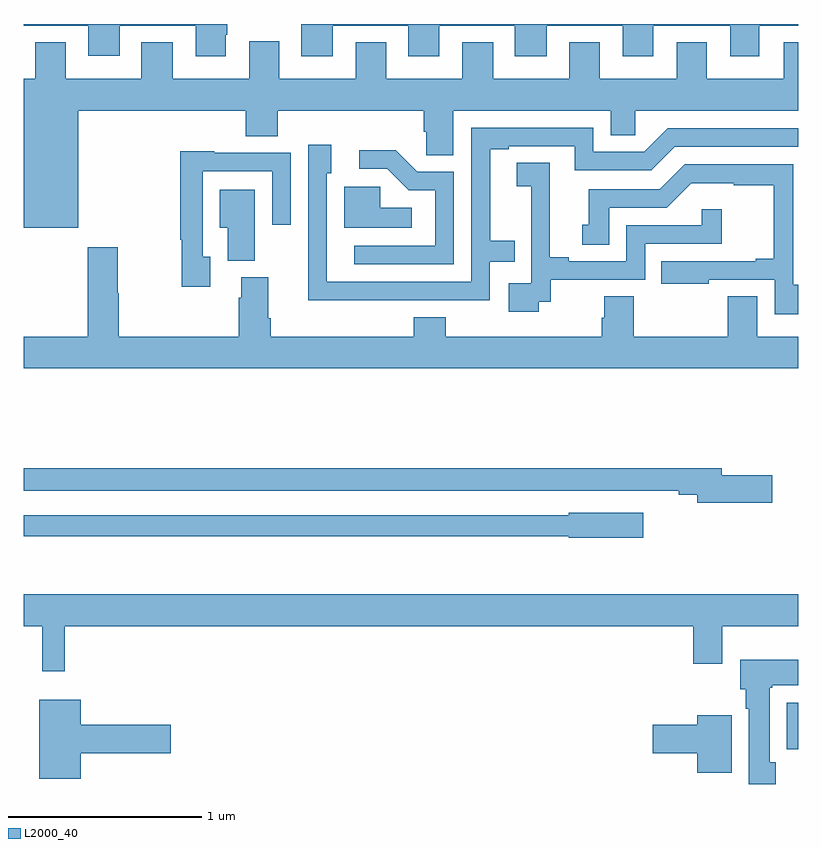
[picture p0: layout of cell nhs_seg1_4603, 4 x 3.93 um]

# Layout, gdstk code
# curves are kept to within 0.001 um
import gdstk
lib = gdstk.Library(unit=1e-6, precision=1e-09)
def R(c, l, rs):  # rectangles x0, y0, x1, y1
    for r in rs: c.add(gdstk.rectangle(r[:2], r[2:], *l))
def P(c, l, *ps):  # polygons
    for p in ps: c.add(gdstk.Polygon(p, *l))
L2000_40 = (2000, 40)

nhs_seg1_4603 = lib.new_cell('nhs_seg1_4603')
R(nhs_seg1_4603, L2000_40, [(364.94,528.452,365,528.694)])
P(nhs_seg1_4603, L2000_40, [(362.596,532.19),(362.987,532.19),(362.987,532.032),(363.145,532.032),(363.145,532.19),(363.536,532.19),(363.536,532.032),(363.7,532.032),(363.7,532.19),(364.094,532.19),(364.094,532.032),(364.252,532.032),(364.252,532.19),(364.649,532.19),(364.649,532.032),(364.798,532.032),(364.798,532.19),(365,532.19),(365,532.199),(362.432,532.199),(362.432,532.032),(362.596,532.032)],
  [(362.044,532.144),(362.052,532.144),(362.052,532.199),(361,532.199),(361,532.191),(361.334,532.191),(361.334,532.035),(361.495,532.035),(361.495,532.191),(361.889,532.191),(361.889,532.032),(362.044,532.032)],
  [(362.147,531.619),(362.312,531.619),(362.312,531.752),(363.065,531.752),(363.065,531.643),(363.078,531.643),(363.078,531.52),(363.217,531.52),(363.217,531.752),(364.031,531.752),(364.031,531.625),(364.158,531.625),(364.158,531.752),(365,531.752),(365,532.105),(364.925,532.105),(364.925,531.916),(364.528,531.916),(364.528,532.105),(364.373,532.105),(364.373,531.916),(363.976,531.916),(363.976,532.105),(363.818,532.105),(363.818,531.916),(363.424,531.916),(363.424,532.105),(363.266,532.105),(363.266,531.916),(362.872,531.916),(362.872,532.105),(362.714,532.105),(362.714,531.916),(362.32,531.916),(362.32,532.111),(362.165,532.111),(362.165,531.916),(361.768,531.916),(361.768,532.106),(361.607,532.106),(361.607,531.916),(361.216,531.916),(361.216,532.106),(361.058,532.106),(361.058,531.916),(361,531.916),(361,531.146),(361.282,531.146),(361.282,531.752),(362.147,531.752)],
  [(362.93,530.772),(363.408,530.772),(363.408,530.97),(363.536,530.97),(363.536,531.079),(363.409,531.079),(363.409,531.552),(363.505,531.552),(363.505,531.567),(363.846,531.567),(363.846,531.444),(364.242,531.444),(364.362,531.564),(365,531.564),(365,531.66),(364.326,531.66),(364.206,531.54),(363.942,531.54),(363.942,531.663),(363.312,531.663),(363.312,530.868),(362.565,530.868),(362.565,531.429),(362.587,531.429),(362.587,531.574),(362.469,531.574),(362.468,530.771)],
  [(363.222,531.435),(363.033,531.435),(362.92,531.548),(362.733,531.548),(362.733,531.45),(362.877,531.45),(362.988,531.339),(363.126,531.339),(363.126,531.054),(362.706,531.054),(362.706,530.958),(363.222,530.958)],
  [(361.963,530.997),(361.923,530.997),(361.923,531.438),(362.283,531.438),(362.283,531.162),(362.379,531.162),(362.379,531.534),(361.983,531.534),(361.983,531.541),(361.807,531.541),(361.807,531.085),(361.815,531.085),(361.815,530.841),(361.963,530.841)],
  [(363.66,530.763),(363.722,530.763),(363.722,530.877),(364.209,530.877),(364.209,531.063),(364.604,531.063),(364.604,531.241),(364.503,531.241),(364.503,531.159),(364.113,531.159),(364.113,530.973),(363.814,530.973),(363.814,530.993),(363.718,530.993),(363.718,531.371),(363.716,531.371),(363.716,531.482),(363.546,531.482),(363.546,531.361),(363.62,531.361),(363.62,531.163),(363.621,531.163),(363.621,530.859),(363.504,530.859),(363.504,530.712),(363.66,530.712)],
  [(365,530.851),(364.974,530.851),(364.974,531.474),(364.413,531.474),(364.284,531.345),(363.917,531.345),(363.917,531.162),(363.884,531.162),(363.884,531.058),(364.024,531.058),(364.024,531.249),(364.32,531.249),(364.448,531.377),(364.667,531.377),(364.667,531.366),(364.873,531.366),(364.873,530.986),(364.781,530.986),(364.781,530.973),(364.294,530.973),(364.294,530.858),(364.537,530.858),(364.537,530.877),(364.878,530.877),(364.878,530.7),(365,530.7)],
  [(363.004,531.25),(362.841,531.25),(362.841,531.357),(362.654,531.357),(362.654,531.146),(363.004,531.146)],
  [(362.194,531.343),(362.012,531.343),(362.012,531.146),(362.054,531.146),(362.054,530.977),(362.194,530.977)],
  [(365,530.584),(364.789,530.584),(364.789,530.792),(364.637,530.792),(364.637,530.584),(364.151,530.584),(364.151,530.792),(363.998,530.792),(363.998,530.682),(363.986,530.682),(363.986,530.584),(363.179,530.584),(363.179,530.683),(363.014,530.683),(363.014,530.584),(362.276,530.584),(362.276,530.68),(362.263,530.68),(362.263,530.892),(362.123,530.892),(362.123,530.786),(362.111,530.786),(362.111,530.584),(361.49,530.584),(361.49,530.807),(361.485,530.807),(361.485,531.046),(361.33,531.046),(361.33,530.584),(361,530.584),(361,530.42),(365,530.42)],
  [(364.867,529.868),(364.606,529.868),(364.606,529.904),(361,529.904),(361,529.788),(364.382,529.788),(364.382,529.768),(364.478,529.768),(364.478,529.726),(364.867,529.726)],
  [(364.201,529.675),(363.816,529.675),(363.816,529.662),(361,529.662),(361,529.554),(363.816,529.554),(363.816,529.546),(364.201,529.546)],
  [(361.211,529.088),(364.457,529.088),(364.457,528.894),(364.609,528.894),(364.609,529.088),(365,529.088),(365,529.252),(361,529.252),(361,529.088),(361.094,529.088),(361.094,528.855),(361.211,528.855)],
  [(364.885,528.386),(364.852,528.386),(364.852,528.769),(364.866,528.769),(364.866,528.782),(365,528.782),(365,528.916),(364.7,528.916),(364.7,528.762),(364.73,528.762),(364.73,528.662),(364.745,528.662),(364.745,528.273),(364.885,528.273)],
  [(361.294,528.431),(361.759,528.431),(361.759,528.578),(361.294,528.578),(361.294,528.709),(361.079,528.709),(361.079,528.299),(361.294,528.299)],
  [(364.657,528.628),(364.478,528.628),(364.478,528.578),(364.248,528.578),(364.248,528.431),(364.478,528.431),(364.478,528.332),(364.657,528.332)])

lib.write_gds('nhs_seg1_4603.gds')
